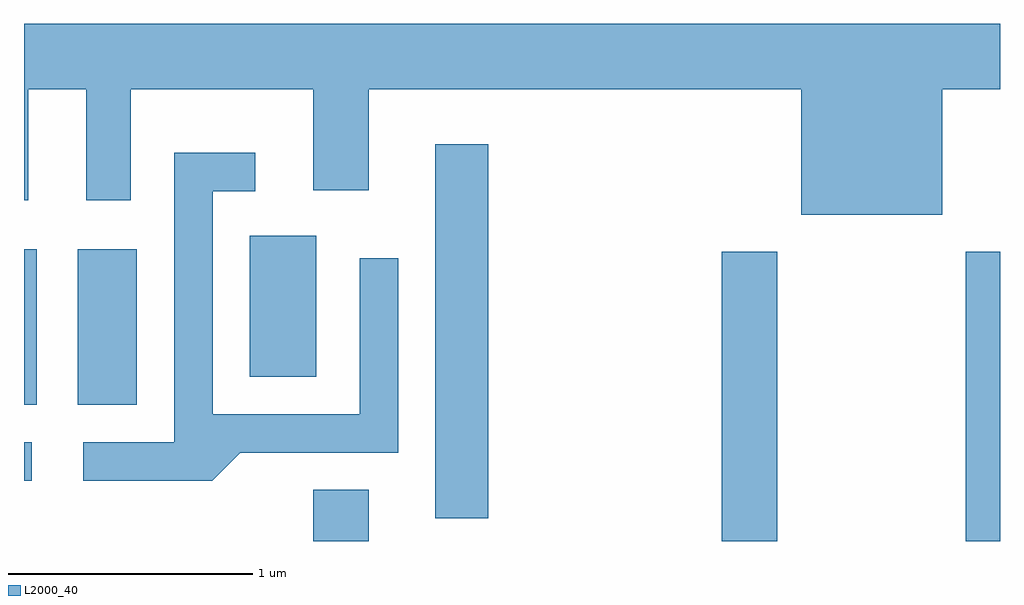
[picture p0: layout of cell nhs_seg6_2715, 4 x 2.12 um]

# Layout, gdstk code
import gdstk
lib = gdstk.Library(unit=1e-6, precision=1e-09)
def R(c, l, rs):  # rectangles x0, y0, x1, y1
    for r in rs: c.add(gdstk.rectangle(r[:2], r[2:], *l))
def P(c, l, *ps):  # polygons
    for p in ps: c.add(gdstk.Polygon(p, *l))
L2000_40 = (2000, 40)

nhs_seg6_2715 = lib.new_cell('nhs_seg6_2715')
R(nhs_seg6_2715, L2000_40, [(268.796,1568.162,269.024,1568.374), (270.471,1568.162,270.699,1569.349), (271.471,1568.162,271.611,1569.349), (269.296,1568.256,269.514,1569.789), (267.611,1568.411,267.643,1568.569), (267.611,1568.721,267.664,1569.359), (267.831,1568.721,268.074,1569.359), (268.536,1568.836,268.809,1569.414)])
P(nhs_seg6_2715, L2000_40, [(267.611,1569.561),(267.629,1569.561),(267.629,1570.016),(267.866,1570.016),(267.866,1569.561),(268.049,1569.561),(268.049,1570.016),(268.796,1570.016),(268.796,1569.601),(269.024,1569.601),(269.024,1570.016),(270.796,1570.016),(270.796,1569.501),(271.374,1569.501),(271.374,1570.016),(271.611,1570.016),(271.611,1570.284),(267.611,1570.284)],
  [(268.497,1568.526),(269.144,1568.526),(269.144,1569.323),(268.986,1569.323),(268.986,1568.684),(268.384,1568.684),(268.384,1569.596),(268.558,1569.596),(268.558,1569.754),(268.226,1569.754),(268.226,1568.569),(267.853,1568.569),(267.853,1568.411),(268.382,1568.411)])

lib.write_gds('nhs_seg6_2715.gds')
